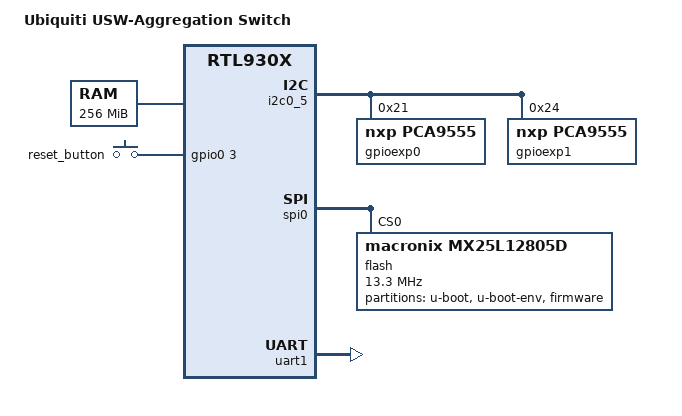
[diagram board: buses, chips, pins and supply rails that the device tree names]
// SPDX-License-Identifier: GPL-2.0-or-later OR MIT

/dts-v1/;

#include <dt-bindings/gpio/gpio.h>

#include "rtl9303.dtsi"
#include "rtl9303_common_8s.dtsi"

/ {
	compatible = "ubiquiti,usw-aggregation", "realtek,rtl9303-soc", "realtek,rtl930x-soc";
	model = "Ubiquiti USW-Aggregation Switch";

	led_set {
		compatible = "realtek,rtl9303-leds", "realtek,rtl930x-leds";

		led_set0 = /bits/ 16 <
			/* LED0 */
			(
				RTL93XX_LED_SET_LINK_ACTIVITY |
				RTL93XX_LED_SET_LINK_UP_SOLID |
				RTL93XX_LED_SET_1000M_LINK |
				RTL93XX_LED_SET_100M_LINK |
				RTL93XX_LED_SET_10M_LINK
			)
			/* LED1 */
			(
				RTL93XX_LED_SET_LINK_ACTIVITY |
				RTL93XX_LED_SET_LINK_UP_SOLID |
				RTL93XX_LED_SET_10G_LINK
			)
			/* LED2 */
			RTL93XX_LED_SET_NONE
			/* LED3 */
			RTL93XX_LED_SET_NONE
		>;
	};

	memory@0 {
		reg = <0x0 0x10000000>; /* 256 MiB */
		device_type = "memory";
	};
};

&i2c0_5 {
	status = "okay";

	gpioexp0: i2c@21 {
		reg = <0x21>;
		compatible = "nxp,pca9555";
		gpio-controller;
		#gpio-cells = <2>;
	};

	gpioexp1: i2c@24 {
		reg = <0x24>;
		compatible = "nxp,pca9555";
		gpio-controller;
		#gpio-cells = <2>;
	};
};

&sfp0 {
	los-gpio = <&gpioexp1 0 GPIO_ACTIVE_HIGH>;
	tx-fault-gpio = <&gpioexp1 1 GPIO_ACTIVE_HIGH>;
	mod-def0-gpio = <&gpioexp1 2 GPIO_ACTIVE_LOW>;
//	tx-disable-gpios = <&gpioexp1 3 GPIO_ACTIVE_LOW>;
};

&sfp1 {
	los-gpio = <&gpioexp1 4 GPIO_ACTIVE_HIGH>;
	tx-fault-gpio = <&gpioexp1 5 GPIO_ACTIVE_HIGH>;
	mod-def0-gpio = <&gpioexp1 6 GPIO_ACTIVE_LOW>;
//	tx-disable-gpios = <&gpioexp1 7 GPIO_ACTIVE_LOW>;
};

&sfp2 {
	los-gpio = <&gpioexp1 8 GPIO_ACTIVE_HIGH>;
	tx-fault-gpio = <&gpioexp1 9 GPIO_ACTIVE_HIGH>;
	mod-def0-gpio = <&gpioexp1 10 GPIO_ACTIVE_LOW>;
//	tx-disable-gpios = <&gpioexp1 11 GPIO_ACTIVE_LOW>;
};

&sfp3 {
	los-gpio = <&gpioexp1 12 GPIO_ACTIVE_HIGH>;
	tx-fault-gpio = <&gpioexp1 13 GPIO_ACTIVE_HIGH>;
	mod-def0-gpio = <&gpioexp1 14 GPIO_ACTIVE_LOW>;
//	tx-disable-gpios = <&gpioexp1 15 GPIO_ACTIVE_LOW>;
};

&sfp4 {
	los-gpio = <&gpioexp0 0 GPIO_ACTIVE_HIGH>;
	tx-fault-gpio = <&gpioexp0 1 GPIO_ACTIVE_HIGH>;
	mod-def0-gpio = <&gpioexp0 2 GPIO_ACTIVE_LOW>;
//	tx-disable-gpios = <&gpioexp0 3 GPIO_ACTIVE_LOW>;
};

&sfp5 {
	los-gpio = <&gpioexp0 4 GPIO_ACTIVE_HIGH>;
	tx-fault-gpio = <&gpioexp0 5 GPIO_ACTIVE_HIGH>;
	mod-def0-gpio = <&gpioexp0 6 GPIO_ACTIVE_LOW>;
//	tx-disable-gpios = <&gpioexp0 7 GPIO_ACTIVE_LOW>;
};

&sfp6 {
	los-gpio = <&gpioexp0 8 GPIO_ACTIVE_HIGH>;
	tx-fault-gpio = <&gpioexp0 9 GPIO_ACTIVE_HIGH>;
	mod-def0-gpio = <&gpioexp0 10 GPIO_ACTIVE_LOW>;
//	tx-disable-gpios = <&gpioexp0 11 GPIO_ACTIVE_LOW>;
};

&sfp7 {
	los-gpio = <&gpioexp0 12 GPIO_ACTIVE_HIGH>;
	tx-fault-gpio = <&gpioexp0 13 GPIO_ACTIVE_HIGH>;
	mod-def0-gpio = <&gpioexp0 14 GPIO_ACTIVE_LOW>;
//	tx-disable-gpios = <&gpioexp0 15 GPIO_ACTIVE_LOW>;
};

&spi0 {
	status = "okay";

	flash@0 {
		reg = <0>;
		compatible = "macronix,mx25l12805d", "mxicy,mx25l12805d", "jedec,spi-nor";
		spi-max-frequency = <13300000>;

		partitions: partitions {
			compatible = "fixed-partitions";
			#address-cells = <1>;
			#size-cells = <1>;

			partition@0 {
				label = "u-boot";
				reg = <0x0 0xa0000>;
				read-only;
			};

			partition@a0000 {
				reg = <0xa0000 0x10000>;
				label = "u-boot-env";
			};

			partition@b0000 {
				reg = <0xb0000 0xf50000>;
				compatible = "openwrt,uimage", "denx,uimage";
				label = "firmware";
				openwrt,ih-magic = <0x93001210>;
			};
		};
	};
};

&uart1 {
	status = "okay";
};

&reset_button {
	gpios = <&gpio0 3 GPIO_ACTIVE_HIGH>;
	status = "okay";
};

&switch0 {
	ports {
		#address-cells = <1>;
		#size-cells = <0>;

		port@0 {
			reg = <0>;
			led-num = <(
				RTL93XX_LED_NUM0 | /* Unknown Color */
				RTL93XX_LED_NUM1   /* White */
			)>;
			led-set = <0>;
			label = "lan8";
			phy-handle = <&phy0>;
			phy-mode = "10gbase-r";
			managed = "in-band-status";
			sfp = <&sfp0>;
		};

		port@8 {
			reg = <8>;
			label = "lan7";
			led-num = <(
				RTL93XX_LED_NUM0 | /* Unknown Color */
				RTL93XX_LED_NUM1   /* White */
			)>;
			led-set = <0>;
			phy-handle = <&phy8>;
			phy-mode = "10gbase-r";
			managed = "in-band-status";
			sfp = <&sfp6>;
		};

		port@16 {
			reg = <16>;
			label = "lan2";
			led-num = <(
				RTL93XX_LED_NUM0 | /* Unknown Color */
				RTL93XX_LED_NUM1   /* White */
			)>;
			led-set = <0>;
			phy-handle = <&phy16>;
			phy-mode = "10gbase-r";
			managed = "in-band-status";
			sfp = <&sfp1>;
		};

		port@20 {
			reg = <20>;
			label = "lan1";
			led-num = <(
				RTL93XX_LED_NUM0 | /* Unknown Color */
				RTL93XX_LED_NUM1   /* White */
			)>;
			led-set = <0>;
			phy-handle = <&phy20>;
			phy-mode = "10gbase-r";
			managed = "in-band-status";
			sfp = <&sfp7>;
		};

		port@24 {
			reg = <24>;
			label = "lan4";
			led-num = <(
				RTL93XX_LED_NUM0 | /* Unknown Color */
				RTL93XX_LED_NUM1   /* White */
			)>;
			led-set = <0>;
			phy-handle = <&phy24>;
			phy-mode = "10gbase-r";
			managed = "in-band-status";
			sfp = <&sfp3>;
		};

		port@25 {
			reg = <25>;
			label = "lan3";
			led-num = <(
				RTL93XX_LED_NUM0 | /* Unknown Color */
				RTL93XX_LED_NUM1   /* White */
			)>;
			led-set = <0>;
			phy-handle = <&phy25>;
			phy-mode = "10gbase-r";
			managed = "in-band-status";
			sfp = <&sfp2>;
		};

		port@26 {
			reg = <26>;
			label = "lan6";
			led-num = <(
				RTL93XX_LED_NUM0 | /* Unknown Color */
				RTL93XX_LED_NUM1   /* White */
			)>;
			led-set = <0>;
			phy-handle = <&phy26>;
			phy-mode = "10gbase-r";
			managed = "in-band-status";
			sfp = <&sfp5>;
		};

		port@27 {
			reg = <27>;
			label = "lan5";
			led-num = <(
				RTL93XX_LED_NUM0 | /* Unknown Color */
				RTL93XX_LED_NUM1   /* White */
			)>;
			led-set = <0>;
			phy-handle = <&phy27>;
			phy-mode = "10gbase-r";
			managed = "in-band-status";
			sfp = <&sfp4>;
		};

		/* Internal SoC <-> Switch ethernet connection */
		port@28 {
			reg = <28>;
			ethernet = <&ethernet0>;
			phy-mode = "internal";
			fixed-link {
				speed = <1000>;
				full-duplex;
			};
		};
	};
};
